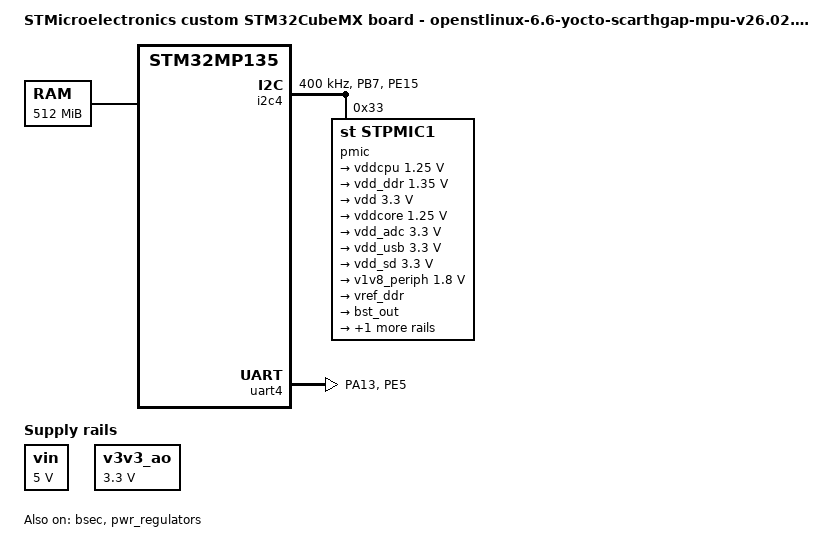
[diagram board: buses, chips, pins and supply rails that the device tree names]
// SPDX-License-Identifier: (GPL-2.0+ OR BSD-3-Clause)
/*
 * Copyright (C) 2026, STMicroelectronics - All Rights Reserved
 * Author: STM32CubeMX code generation for STMicroelectronics.
 */

/* For more information on Device Tree configuration, please refer to
 * https://wiki.st.com/stm32mpu/wiki/Category:Device_tree_configuration
 */

/dts-v1/;

#include <dt-bindings/pinctrl/stm32-pinfunc.h>
#include <dt-bindings/clock/stm32mp13-clksrc.h>
#include "stm32mp13-mx.dtsi"

#include "stm32mp135.dtsi"
#include "stm32mp13xd.dtsi"
#include "stm32mp13-ddr.dtsi"

/* USER CODE BEGIN includes */
/* USER CODE END includes */

/ {
	model = "STMicroelectronics custom STM32CubeMX board - openstlinux-6.6-yocto-scarthgap-mpu-v26.02.18";
	compatible = "st,stm32mp135d-odyssey_dev_minimal_dt-mx", "st,stm32mp135";

	memory@c0000000 {
		device_type = "memory";
		reg = <0xc0000000 0x20000000>;

		/* USER CODE BEGIN memory */
		/* USER CODE END memory */
	};

	/* USER CODE BEGIN root */
	aliases{
		serial0 = &uart4;
	};

	chosen{
		stdout-path = "serial0:115200n8";
	};
	
	vin: vin {
		compatible = "regulator-fixed";
		regulator-name = "vin";
		regulator-min-microvolt = <5000000>;
		regulator-max-microvolt = <5000000>;
		regulator-always-on;
	};

	v3v3_ao: v3v3_ao {
		compatible = "regulator-fixed";
		regulator-name = "v3v3_ao";
		regulator-min-microvolt = <3300000>;
		regulator-max-microvolt = <3300000>;
		regulator-always-on;
	};	
	/* USER CODE END root */

	clocks {
		/* USER CODE BEGIN clocks */
		/* USER CODE END clocks */

		clk_hsi: clk-hsi {
			clock-frequency = <64000000>;

			/* USER CODE BEGIN clk_hsi */
			/* USER CODE END clk_hsi */
		};
		clk_lse: clk-lse {
			status = "disabled";

			/* USER CODE BEGIN clk_lse */
			/* USER CODE END clk_lse */
		};
		clk_hse: clk-hse {
			status = "disabled";

			/* USER CODE BEGIN clk_hse */
			/* USER CODE END clk_hse */
		};
		clk_i2sin: clk-i2sin {
			status = "disabled";

			/* USER CODE BEGIN clk_i2sin */
			/* USER CODE END clk_i2sin */
		};
	};

}; /*root*/

&pinctrl {
	i2c4_pins_mx: i2c4_mx-0 {
		pins {
			pinmux = <STM32_PINMUX('B', 7, AF6)>, /* I2C4_SDA */
			         <STM32_PINMUX('E', 15, AF6)>; /* I2C4_SCL */
			bias-disable;
			drive-open-drain;
			slew-rate = <0>;
		};
	};

	uart4_pins_mx: uart4_mx-0 {
		pins1 {
			pinmux = <STM32_PINMUX('A', 13, AF8)>; /* UART4_TX */
			bias-disable;
			drive-push-pull;
			slew-rate = <0>;
		};
		pins2 {
			pinmux = <STM32_PINMUX('E', 5, AF8)>; /* UART4_RX */
			bias-disable;
		};
	};

	/* USER CODE BEGIN pinctrl */
	/* USER CODE END pinctrl */
};

&bsec {
	status = "okay";

	/* USER CODE BEGIN bsec */
	/* USER CODE END bsec */
};

&i2c4 {
	pinctrl-names = "default";
	pinctrl-0 = <&i2c4_pins_mx>;
	status = "okay";

	/* USER CODE BEGIN i2c4 */
	i2c-scl-rising-time-ns = <185>;
	i2c-scl-falling-time-ns = <20>;
	clock-frequency = <400000>;

	pmic: stpmic@33 {
		compatible = "st,stpmic1";
		reg = <0x33>;

		status = "okay";

		regulators {
			compatible = "st,stpmic1-regulators";
			buck1-supply = <&vin>;
			buck2-supply = <&vin>;
			buck3-supply = <&vin>;
			buck4-supply = <&vin>;
			ldo1-supply = <&vin>;
			ldo4-supply = <&vin>;
			ldo5-supply = <&vin>;
			ldo6-supply = <&vin>;
			vref_ddr-supply = <&vin>;
			pwr_sw1-supply = <&bst_out>;
			pwr_sw2-supply = <&v3v3_ao>;

			vddcpu: buck1 {
				regulator-name = "vddcpu";
				regulator-min-microvolt = <1250000>;
				regulator-max-microvolt = <1250000>;
				regulator-always-on;
				regulator-over-current-protection;
			};

			vdd_ddr: buck2 {
				regulator-name = "vdd_ddr";
				regulator-min-microvolt = <1350000>;
				regulator-max-microvolt = <1350000>;
				regulator-always-on;
				regulator-over-current-protection;
			};

			vdd: buck3 {
				regulator-name = "vdd";
				regulator-min-microvolt = <3300000>;
				regulator-max-microvolt = <3300000>;
				regulator-always-on;
				st,mask-reset;
				regulator-over-current-protection;
			};

			vddcore: buck4 {
				regulator-name = "vddcore";
				regulator-min-microvolt = <1250000>;
				regulator-max-microvolt = <1250000>;
				regulator-always-on;
				regulator-over-current-protection;
			};

			vdd_adc: ldo1 {
				regulator-name = "vdd_adc";
				regulator-min-microvolt = <3300000>;
				regulator-max-microvolt = <3300000>;
			};

			vdd_usb: ldo4 {
				regulator-name = "vdd_usb";
				regulator-min-microvolt = <3300000>;
				regulator-max-microvolt = <3300000>;
			};

			vdd_sd: ldo5 {
				regulator-name = "vdd_sd";
				regulator-min-microvolt = <3300000>;
				regulator-max-microvolt = <3300000>;
				regulator-boot-on;
			};

			v1v8_periph: ldo6 {
				regulator-name = "v1v8_periph";
				regulator-min-microvolt = <1800000>;
				regulator-max-microvolt = <1800000>;
			};

			vref_ddr: vref_ddr {
				regulator-name = "vref_ddr";
				regulator-always-on;
			};

			bst_out: boost {
				regulator-name = "bst_out";
			};

			v3v3_sw: pwr_sw2 {
				regulator-name = "v3v3_sw";
				regulator-active-discharge = <1>;
				regulator-always-on;
			};
		};
	};	
	/* USER CODE END i2c4 */
};

&pwr_regulators {
	status = "okay";

	/* USER CODE BEGIN pwr_regulators */
	vdd-supply = <&vdd>;
	vdd_3v3_usbfs-supply = <&vdd_usb>;
	/* USER CODE END pwr_regulators */
};

&rcc {
	status = "okay";
	st,clksrc = <
		CLK_MPU_HSI
		CLK_AXI_HSI
		CLK_MLAHBS_HSI
		CLK_CKPER_DISABLED
		CLK_STGEN_HSI
		CLK_I2C4_PCLK6
		CLK_UART4_PCLK1
	>;
	st,clkdiv = <
		DIV(DIV_MPU, 1)
		DIV(DIV_AXI, 0)
		DIV(DIV_MLAHB, 0)
		DIV(DIV_APB1, 0)
		DIV(DIV_APB2, 0)
		DIV(DIV_APB3, 0)
		DIV(DIV_APB4, 0)
		DIV(DIV_APB5, 0)
		DIV(DIV_APB6, 0)
	>;
	st,pll_vco {
		pll2_vco_800Mhz: pll2-vco-800Mhz {
			src = < CLK_PLL12_HSI >;
			divmn = < 3 24 >;
		};
		/* USER CODE BEGIN rcc_st-pll_vco */
		/* USER CODE END rcc_st-pll_vco */
	};

	pll2:st,pll@1 {
		compatible = "st,stm32mp1-pll";
		reg = <1>;

		st,pll = < &pll2_cfg1 >;

		pll2_cfg1: pll2_cfg1 {
			st,pll_vco = < &pll2_vco_800Mhz >;
			st,pll_div_pqr = < 1 1 0 >;
		};
		/* USER CODE BEGIN pll2 */
		/* USER CODE END pll2 */
	};

};

&uart4 {
	pinctrl-names = "default";
	pinctrl-0 = <&uart4_pins_mx>;
	status = "okay";

	/* USER CODE BEGIN uart4 */
	/* USER CODE END uart4 */
};

/* USER CODE BEGIN addons */
/* USER CODE END addons */

